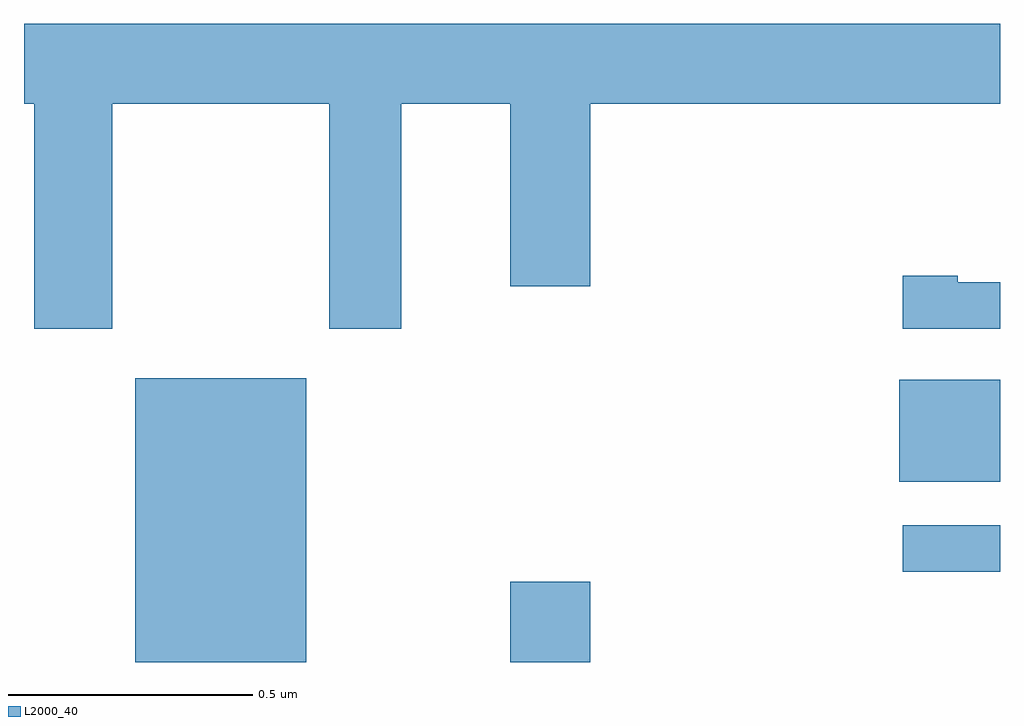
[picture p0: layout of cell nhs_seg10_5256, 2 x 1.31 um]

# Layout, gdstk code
import gdstk
lib = gdstk.Library(unit=1e-6, precision=1e-09)
def R(c, l, rs):  # rectangles x0, y0, x1, y1
    for r in rs: c.add(gdstk.rectangle(r[:2], r[2:], *l))
def P(c, l, *ps):  # polygons
    for p in ps: c.add(gdstk.Polygon(p, *l))
L2000_40 = (2000, 40)

nhs_seg10_5256 = lib.new_cell('nhs_seg10_5256')
R(nhs_seg10_5256, L2000_40, [(176.228,1304.5,176.578,1305.082), (176.996,1304.5,177.16,1304.665), (177.801,1304.685,178,1304.781), (177.794,1304.87,178,1305.079)])
P(nhs_seg10_5256, L2000_40, [(176.181,1305.644),(176.626,1305.644),(176.626,1305.183),(176.773,1305.183),(176.773,1305.644),(176.996,1305.644),(176.996,1305.27),(177.16,1305.27),(177.16,1305.644),(178,1305.644),(178,1305.808),(176,1305.808),(176,1305.644),(176.021,1305.644),(176.021,1305.183),(176.181,1305.183)],
  [(178,1305.279),(177.913,1305.279),(177.913,1305.292),(177.801,1305.292),(177.801,1305.183),(178,1305.183)])

lib.write_gds('nhs_seg10_5256.gds')
